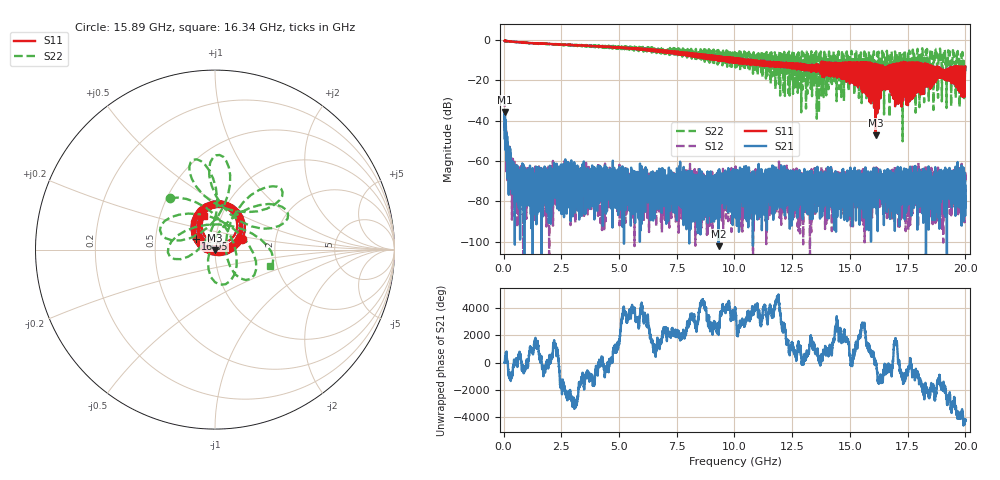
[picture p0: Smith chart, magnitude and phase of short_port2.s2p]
!Agilent Technologies,E8364A,US41440322,A.04.87.01
!Agilent E8364A: A.04.87.01
!Date: Tuesday, July 16, 2024 13:05:31
!Correction: S11(Full 2 Port SOLT,1,2) S21(Full 2 Port SOLT,1,2) S12(Full 2 Port SOLT,1,2) S22(Full 2 Port SOLT,1,2)
!S2P File: Measurements: S11, S21, S12, S22:
# Hz S  dB  R 50
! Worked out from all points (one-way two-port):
!   6401 points, 45 MHz to 20 GHz, reference 50 ohm
!   highest |S21| = -35.65 dB at 60.59 MHz (marker M1); lowest = -102.2 dB at 9.312 GHz (marker M2)
!   lowest |S11| = -47.2 dB at 16.11 GHz (marker M3), VSWR 1.01, Z = 49.9 - j0.414 ohm
!   |S11| at or under -10 dB: 10.64988 GHz to 10.70337 GHz (53.5 MHz wide, 0.501 % of centre); 10.72 GHz to 10.78 GHz (55.37 MHz wide, 0.515 % of centre); 10.79 GHz to end of sweep (the widest 3 of 23)
!   |S22| runs from -50.2 to -0.2 dB; largest |S21 - S12| = 0.049
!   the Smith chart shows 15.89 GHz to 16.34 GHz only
!   S11 on the Smith chart (normalised r, x): 15.89 GHz: 1.35, +0.16; 16.05 GHz: 0.80, +0.10; 16.34 GHz: 0.83, +0.33
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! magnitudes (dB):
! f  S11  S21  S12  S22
! 45 MHz  -0.3  -38.2  -28.7  -0.6
! 60.59 MHz  -0.4  -35.7  -44.2  -0.5
! 154.1 MHz  -0.4  -55.5  -50.8  -0.6
! 266.4 MHz  -0.7  -68.6  -55.4  -0.9
! 587.5 MHz  -1.0  -75.8  -93.0  -1.0
! 1.894 GHz  -1.9  -78.9  -74.5  -1.8
! 2.231 GHz  -2.0  -70.0  -66.5  -2.3
! 3.372 GHz  -2.7  -72.7  -70.8  -2.4
! 6.138 GHz  -4.8  -78.5  -70.5  -4.0
! 6.499 GHz  -4.8  -78.4  -72.4  -4.2
! 6.699 GHz  -5.5  -73.7  -69.8  -4.2
! 9.312 GHz  -7.9  -102.2  -72.3  -6.5
! 10.02 GHz  -9.2  -70.4  -67.2  -7.4
! 13.35 GHz  -12.3  -83.5  -77.7  -11.3
! 15.89 GHz  -15.8  -71.9  -74.4  -8.4
! 16.05 GHz  -18.1  -79.5  -70.6  -8.5
! 16.11 GHz  -47.2  -69.8  -70.1  -15.8
! 16.34 GHz  -14.1  -68.9  -69.3  -9.9
! 16.68 GHz  -24.1  -70.8  -68.5  -20.5
! 18.41 GHz  -22.0  -76.8  -84.3  -30.1
! 19.89 GHz  -28.3  -69.5  -76.0  -11.2
! 20 GHz  -13.1  -72.3  -71.9  -11.4
